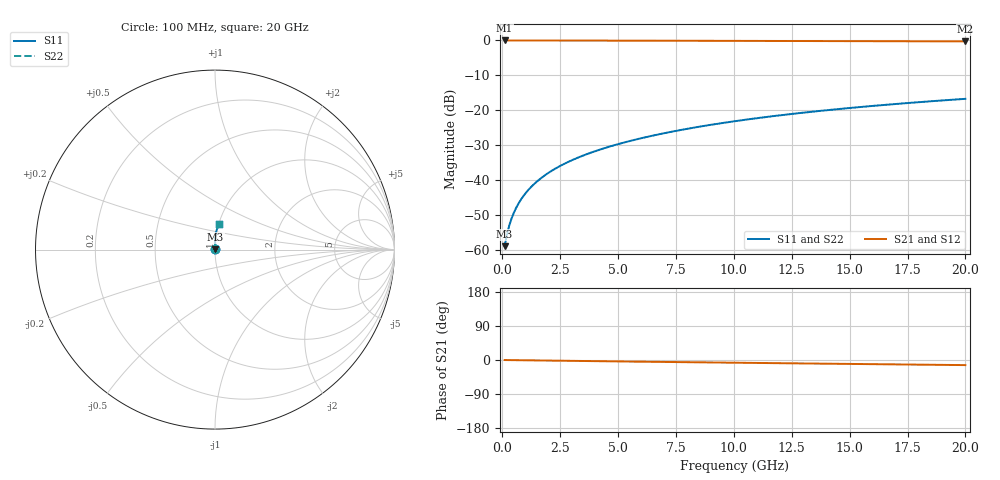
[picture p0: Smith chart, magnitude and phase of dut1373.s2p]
! Touchstone file exported from HFSS 2024.1.0
!  File:  C:/UserFiles/LocalFiles/RDL_TSV_Batchsim/temp_RDL_top_1373_1780367047.aedt
!  Generated:  10:26:25 AM Jun  2, 2026
!  Design:  RDL_top
!  Project:  temp_RDL_top_1373_1780367047
!  Setup:  Setup1
!  Solution:  Sweep
! Variables:
!  dtsv = 10.80580581um
!  hbump = 3um
!  htsv = 93.36um
!  ldown = 100um
!  lrdl = 165.18um
!  p = 40
!  p1 = 47.68um
!  rhole = 1um
!  t = 450um
!  tdown = 3.915915916um
!  trdl = 3.79um
!  wdown = 15.38538539um
!  wrdl = 22.56um
# GHz S MA R 50.000000
! Terminal data exported
! Port[1] = Box2_T1
! Port[2] = Box2_T2
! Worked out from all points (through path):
!   200 points, 100 MHz to 20 GHz, reference 50 ohm
!   highest |S21| = -0.01 dB at 100 MHz (marker M1); lowest = -0.3 dB at 20 GHz (marker M2)
!   group delay of S21, straight-line fit = 1.85 ps
!   lowest |S11| = -58.9 dB at 100 MHz (marker M3), VSWR 1.00, Z = 50.1 + j0.0696 ohm
!   |S11| at or under -10 dB: start of sweep to end of sweep
!   |S22| runs from -58.9 to -16.7 dB; largest |S21 - S12| = 2.1e-15
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0.1  0.001132 37.9  0.9991 -0.1  0.9991 -0.1  0.001132 37.9
! Gamma 0 0 0 0
! Port Impedance 50 0 50 0
0.2  0.001653 55.5  0.9991 -0.2  0.9991 -0.2  0.001653 55.5
0.3  0.002229 64.0  0.999 -0.2  0.999 -0.2  0.002229 64.0
0.4  0.002817 69.1  0.9989 -0.3  0.9989 -0.3  0.002817 69.1
0.5  0.003411 72.5  0.9989 -0.4  0.9989 -0.4  0.003411 72.5
0.6  0.004011 75.1  0.9989 -0.5  0.9989 -0.5  0.004011 75.1
0.8  0.005226 78.5  0.9988 -0.6  0.9988 -0.6  0.005226 78.5
1.1  0.007075 81.7  0.9986 -0.9  0.9986 -0.9  0.007075 81.7
1.5  0.009577 84.2  0.9984 -1.2  0.9984 -1.2  0.009577 84.2
1.8  0.01147 85.4  0.9981 -1.4  0.9981 -1.4  0.01147 85.4
2.1  0.01339 86.3  0.9979 -1.6  0.9979 -1.6  0.01339 86.3
2.7  0.01726 87.5  0.9973 -2.1  0.9973 -2.1  0.01726 87.5
3.5  0.02252 88.6  0.9963 -2.7  0.9963 -2.7  0.02252 88.6
4.2  0.02723 89.1  0.9953 -3.2  0.9953 -3.2  0.02723 89.2
5  0.03273 89.5  0.994 -3.8  0.994 -3.8  0.03273 89.5
5.9  0.03906 89.7  0.9925 -4.4  0.9925 -4.4  0.03906 89.7
6.8  0.04553 89.7  0.9909 -5.0  0.9909 -5.0  0.04553 89.7
8.4  0.05733 89.3  0.988 -6.1  0.988 -6.1  0.05733 89.3
10.1  0.07016 88.5  0.985 -7.2  0.985 -7.2  0.07016 88.5
13.4  0.09545 86.4  0.9793 -9.3  0.9793 -9.3  0.09546 86.4
16.7  0.1208 84.0  0.9739 -11.4  0.9739 -11.4  0.1208 84.0
20  0.1458 81.5  0.9685 -13.5  0.9685 -13.5  0.1458 81.5
